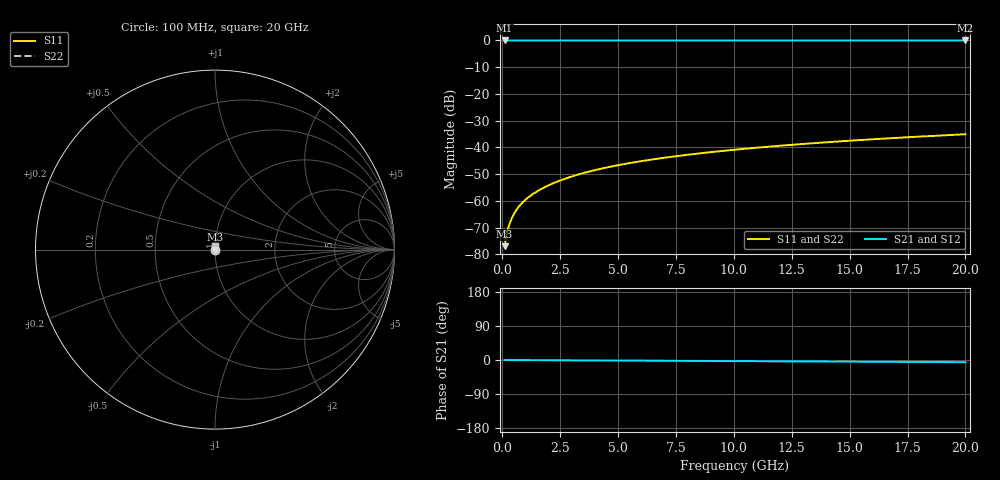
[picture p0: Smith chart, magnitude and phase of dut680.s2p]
! Touchstone file exported from HFSS 2026.1.0
!  File:  C:/ffzhzh/LocalFiles/Ansys_Project_Files/temp_train_TSV_680_1783027373_4048.aedt
!  Generated:  05:24:41 AM Jul  3, 2026
!  Design:  TSV
!  Project:  temp_train_TSV_680_1783027373_4048
! Variables:
!  h_bsmrdl = 2um
!  h_ox = 20um
!  h_rdl = 5um
!  h_sub = 50.78um
!  h_tmrdl = 5um
!  h_tsv = 50.78um
!  h_via = 3um
!  l_bsmrdl = 300um
!  l_sub = 421.56um
!  l_tmrdl = 200um
!  m_sub = 200um
!  pitch = 51.73um
!  r_tsv = 10.78um
!  s_tmrdl = 10um
!  w_bsmrdl = 18um
!  w_sub = 500um
!  w_tmrdl = 12um
!  x_tsv_center1 = 206um
!  x_tsv_center2 = 524um
!  x_tsv_center3 = 736um
!  x_tsv_center4 = 1054um
!  x_tsv_center5 = 1266um
!  x_tsv_center6 = 1584um
# GHz S MA R 50.000000
! Terminal data exported
! Port[1] = TSV1_1_T1
! Port[2] = TSV1_1_T2
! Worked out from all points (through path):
!   200 points, 100 MHz to 20 GHz, reference 50 ohm
!   highest |S21| = 0.00 dB at 100 MHz (marker M1); lowest = 0.0 dB at 20 GHz (marker M2)
!   lowest |S11| = -76.9 dB at 100 MHz (marker M3), VSWR 1.00, Z = 50 + j0.0116 ohm
!   |S11| at or under -10 dB: start of sweep to end of sweep
!   |S22| runs from -76.9 to -35.1 dB; largest |S21 - S12| = 6.1e-15
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0.1  0.0001423 54.9  0.9999 -0.0  0.9999 -0.0  0.0001423 54.9
! Gamma 0 0 0 0
! Port Impedance 50 0 50 0
0.2  0.0002478 68.7  0.9999 -0.1  0.9999 -0.1  0.0002478 68.7
0.3  0.000357 73.4  0.9999 -0.1  0.9999 -0.1  0.000357 73.4
0.4  0.0004642 75.4  0.9999 -0.1  0.9999 -0.1  0.0004642 75.4
0.5  0.0005683 76.5  0.9999 -0.2  0.9999 -0.2  0.0005683 76.5
0.6  0.0006692 77.2  0.9999 -0.2  0.9999 -0.2  0.0006692 77.2
0.7  0.0007673 77.7  0.9998 -0.2  0.9998 -0.2  0.0007673 77.7
0.8  0.0008631 78.1  0.9998 -0.2  0.9998 -0.2  0.0008631 78.1
1  0.00105 78.8  0.9998 -0.3  0.9998 -0.3  0.00105 78.8
1.4  0.001415 80.1  0.9998 -0.4  0.9998 -0.4  0.001415 80.1
1.7  0.001687 80.8  0.9997 -0.5  0.9997 -0.5  0.001687 80.8
2  0.001958 81.5  0.9997 -0.6  0.9997 -0.6  0.001958 81.5
2.7  0.00259 82.4  0.9997 -0.8  0.9997 -0.8  0.00259 82.4
3.5  0.003311 83.0  0.9996 -1.0  0.9996 -1.0  0.003311 83.0
4.2  0.003938 83.3  0.9996 -1.2  0.9996 -1.2  0.003938 83.3
5  0.00465 83.5  0.9996 -1.5  0.9996 -1.5  0.00465 83.5
6.8  0.006236 83.6  0.9995 -2.0  0.9995 -2.0  0.006236 83.6
8.3  0.007547 83.5  0.9994 -2.4  0.9994 -2.4  0.007547 83.5
10.1  0.009113 83.4  0.9994 -2.9  0.9994 -2.9  0.009113 83.4
13.4  0.01197 82.9  0.9993 -3.9  0.9993 -3.9  0.01197 82.9
16.7  0.0148 82.2  0.9991 -4.8  0.9991 -4.8  0.0148 82.2
20  0.01762 81.5  0.999 -5.8  0.999 -5.8  0.01762 81.5
